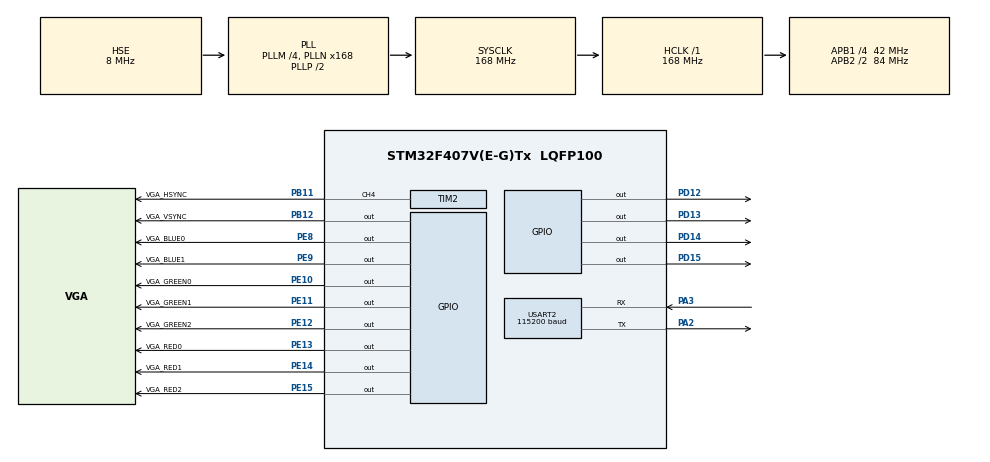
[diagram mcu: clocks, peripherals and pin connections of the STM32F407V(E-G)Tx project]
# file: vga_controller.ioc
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Dma.Request0=TIM1_UP
Dma.Request1=USART2_RX
Dma.Request2=USART2_TX
Dma.TIM1_UP.0.Direction=DMA_MEMORY_TO_PERIPH
Dma.TIM1_UP.0.FIFOMode=DMA_FIFOMODE_DISABLE
Dma.TIM1_UP.0.Instance=DMA2_Stream5
Dma.TIM1_UP.0.MemDataAlignment=DMA_MDATAALIGN_BYTE
Dma.TIM1_UP.0.MemInc=DMA_MINC_ENABLE
Dma.TIM1_UP.0.Mode=DMA_NORMAL
Dma.TIM1_UP.0.PeriphDataAlignment=DMA_PDATAALIGN_BYTE
Dma.TIM1_UP.0.PeriphInc=DMA_PINC_DISABLE
Dma.TIM1_UP.0.Priority=DMA_PRIORITY_VERY_HIGH
Dma.USART2_RX.1.Direction=DMA_PERIPH_TO_MEMORY
Dma.USART2_RX.1.FIFOMode=DMA_FIFOMODE_DISABLE
Dma.USART2_RX.1.Instance=DMA1_Stream5
Dma.USART2_RX.1.MemDataAlignment=DMA_MDATAALIGN_BYTE
Dma.USART2_RX.1.MemInc=DMA_MINC_ENABLE
Dma.USART2_RX.1.Mode=DMA_NORMAL
Dma.USART2_RX.1.PeriphDataAlignment=DMA_PDATAALIGN_BYTE
Dma.USART2_RX.1.PeriphInc=DMA_PINC_DISABLE
Dma.USART2_RX.1.Priority=DMA_PRIORITY_LOW
Dma.USART2_TX.2.Direction=DMA_MEMORY_TO_PERIPH
Dma.USART2_TX.2.FIFOMode=DMA_FIFOMODE_DISABLE
Dma.USART2_TX.2.Instance=DMA1_Stream6
Dma.USART2_TX.2.MemDataAlignment=DMA_MDATAALIGN_BYTE
Dma.USART2_TX.2.MemInc=DMA_MINC_ENABLE
Dma.USART2_TX.2.Mode=DMA_CIRCULAR
Dma.USART2_TX.2.PeriphDataAlignment=DMA_PDATAALIGN_BYTE
Dma.USART2_TX.2.PeriphInc=DMA_PINC_DISABLE
Dma.USART2_TX.2.Priority=DMA_PRIORITY_LOW
Mcu.Family=STM32F4
Mcu.Name=STM32F407V(E-G)Tx
Mcu.Package=LQFP100
NVIC.DMA1_Stream5_IRQn=true\:0\:0\:false\:false\:true\:false\:true
NVIC.DMA1_Stream6_IRQn=true\:0\:0\:false\:false\:true\:false\:true
NVIC.DMA2_Stream5_IRQn=true\:0\:0\:true\:true\:true\:3\:false\:true
NVIC.PriorityGroup=NVIC_PRIORITYGROUP_4
NVIC.TIM2_IRQn=true\:0\:0\:true\:true\:true\:1\:true\:true
NVIC.USART2_IRQn=true\:2\:0\:true\:true\:true\:2\:true\:true
PA13.Mode=Serial_Wire
PA13.Signal=SYS_JTMS-SWDIO
PA14.Mode=Serial_Wire
PA14.Signal=SYS_JTCK-SWCLK
PA2.Mode=Asynchronous
PA2.Signal=USART2_TX
PA3.Mode=Asynchronous
PA3.Signal=USART2_RX
PB11.GPIO_Label=VGA_HSYNC
PB11.GPIO_Speed=GPIO_SPEED_FREQ_VERY_HIGH
PB11.Signal=S_TIM2_CH4
PB12.GPIO_Label=VGA_VSYNC
PB12.GPIO_PuPd=GPIO_NOPULL
PB12.GPIO_Speed=GPIO_SPEED_FREQ_VERY_HIGH
PB12.Signal=GPIO_Output
PD12.Signal=GPIO_Output
PD13.Signal=GPIO_Output
PD14.Signal=GPIO_Output
PD15.Signal=GPIO_Output
PE10.GPIO_Label=VGA_GREEN0
PE10.GPIO_PuPd=GPIO_NOPULL
PE10.GPIO_Speed=GPIO_SPEED_FREQ_VERY_HIGH
PE10.Signal=GPIO_Output
PE11.GPIO_Label=VGA_GREEN1
PE11.GPIO_PuPd=GPIO_NOPULL
PE11.GPIO_Speed=GPIO_SPEED_FREQ_VERY_HIGH
PE11.Signal=GPIO_Output
PE12.GPIO_Label=VGA_GREEN2
PE12.GPIO_PuPd=GPIO_NOPULL
PE12.GPIO_Speed=GPIO_SPEED_FREQ_VERY_HIGH
PE12.Signal=GPIO_Output
PE13.GPIO_Label=VGA_RED0
PE13.GPIO_PuPd=GPIO_NOPULL
PE13.GPIO_Speed=GPIO_SPEED_FREQ_VERY_HIGH
PE13.Signal=GPIO_Output
PE14.GPIO_Label=VGA_RED1
PE14.GPIO_PuPd=GPIO_NOPULL
PE14.GPIO_Speed=GPIO_SPEED_FREQ_VERY_HIGH
PE14.Signal=GPIO_Output
PE15.GPIO_Label=VGA_RED2
PE15.GPIO_PuPd=GPIO_NOPULL
PE15.GPIO_Speed=GPIO_SPEED_FREQ_VERY_HIGH
PE15.Signal=GPIO_Output
PE8.GPIO_Label=VGA_BLUE0
PE8.GPIO_PuPd=GPIO_NOPULL
PE8.GPIO_Speed=GPIO_SPEED_FREQ_VERY_HIGH
PE8.Signal=GPIO_Output
PE9.GPIO_Label=VGA_BLUE1
PE9.GPIO_PuPd=GPIO_NOPULL
PE9.GPIO_Speed=GPIO_SPEED_FREQ_VERY_HIGH
PE9.Signal=GPIO_Output
PH0-OSC_IN.Mode=HSE-External-Oscillator
PH0-OSC_IN.Signal=RCC_OSC_IN
PH1-OSC_OUT.Mode=HSE-External-Oscillator
PH1-OSC_OUT.Signal=RCC_OSC_OUT
ProjectManager.HeapSize=0x200
ProjectManager.StackSize=0x400
ProjectManager.TargetToolchain=Makefile
RCC.48MHZClocksFreq_Value=48000000
RCC.AHBFreq_Value=168000000
RCC.APB1CLKDivider=RCC_HCLK_DIV4
RCC.APB1Freq_Value=42000000
RCC.APB1TimFreq_Value=84000000
RCC.APB2CLKDivider=RCC_HCLK_DIV2
RCC.APB2Freq_Value=84000000
RCC.APB2TimFreq_Value=168000000
RCC.CortexFreq_Value=168000000
RCC.HCLKFreq_Value=168000000
RCC.HSE_VALUE=8000000
RCC.HSI_VALUE=16000000
RCC.LSE_VALUE=32768
RCC.PLLM=4
RCC.PLLN=168
RCC.PLLQ=7
RCC.PLLSourceVirtual=RCC_PLLSOURCE_HSE
RCC.SYSCLKFreq_VALUE=168000000
RCC.SYSCLKSource=RCC_SYSCLKSOURCE_PLLCLK
RCC.VCOOutputFreq_Value=336000000
SH.S_TIM2_CH4.0=TIM2_CH4,PWM Generation4 CH4
STMicroelectronics.X-CUBE-TOUCHGFX.4.16.1.ApplicationCcGraphicsJjApplication=TouchGFXOoGenerator
STMicroelectronics.X-CUBE-TOUCHGFX.4.16.1.tgfx_buffering_strategy=Double
TIM1.Period=VGA_TIM1_PERIODE
TIM1.Prescaler=VGA_TIM1_PRESCALE
TIM2.AutoReloadPreload=TIM_AUTORELOAD_PRELOAD_DISABLE
TIM2.Channel-PWM\ Generation3\ No\ Output=TIM_CHANNEL_3
TIM2.Channel-PWM\ Generation4\ CH4=TIM_CHANNEL_4
TIM2.OCPolarity_3=TIM_OCPOLARITY_LOW
TIM2.OCPolarity_4=TIM_OCPOLARITY_LOW
TIM2.Period=VGA_TIM2_HSYNC_PERIODE
TIM2.Prescaler=VGA_TIM2_HSYNC_PRESCALE
TIM2.Pulse-PWM\ Generation3\ No\ Output=VGA_TIM2_HTRIGGER_START - VGA_TIM2_DMA_DELAY
TIM2.Pulse-PWM\ Generation4\ CH4=VGA_TIM2_HSYNC_IMP
USART2.BaudRate=115200
USART2.VirtualMode=VM_ASYNC
VP_TIM1_VS_ClockSourceINT.Mode=Internal
VP_TIM2_VS_no_output3.Mode=PWM Generation3 No Output
board=custom

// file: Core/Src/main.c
/* USER CODE BEGIN Header */
/**
  ******************************************************************************
  * @file           : main.c
  * @brief          : Main program body
  *
  ****************************************************************************
  * @attention
  *
  * <h2><center>&copy; Copyright (c) 2020 STMicroelectronics.
  * All rights reserved.</center></h2>
  *
  * This software component is licensed by ST under BSD 3-Clause license,
  * the "License"; You may not use this file except in compliance with the
  * License. You may obtain a copy of the License at:
  *                        opensource.org/licenses/BSD-3-Clause
  *
  ******************************************************************************
  */
/* USER CODE END Header */
#include "main.h"
#include "dma.h"
#include "tim.h"
#include "usart.h"
#include "gpio.h"

/* USER CODE BEGIN Includes */
#include "graphics.h"
#include "extra.h"
#include "fonts.h"
#include "helper.h"
#include "interpreter.h"

//stdc
#include <stdio.h>
#include <string.h>
#include <stdlib.h>
#include <math.h>
#include <errno.h>

/* USER CODE END Includes */

/* USER CODE BEGIN PD */
#define MAX_INPUT_LEN 1024
/* USER CODE END PD */

/* USER CODE BEGIN PV */
char input_buff[MAX_INPUT_LEN] = {};

uint32_t wait_time = 0;
uint32_t start_time = 0;
// uint32_t interpreter_data_len = 0;
/* USER CODE END PV */

void SystemClock_Config(void);
static void MX_NVIC_Init(void);
/* USER CODE BEGIN PFP */
char UART_Check_for_string(char * ptr, uint32_t max_size);
/* USER CODE END PFP */

int main(void)
{

  /* MCU Configuration--------------------------------------------------------*/

  /* Reset of all peripherals, Initializes the Flash interface and the Systick. */
  HAL_Init();

  /* Configure the system clock */
  SystemClock_Config();

  /* Initialize all configured peripherals */
  MX_GPIO_Init();
  MX_DMA_Init();
  MX_TIM1_Init();
  MX_TIM2_Init();
  MX_USART2_UART_Init();

  /* Initialize interrupts */
  MX_NVIC_Init();
  /* USER CODE BEGIN 2 */

  //init function list
  API_Init_function_list();

  //initialize uart receieve
  HAL_UART_Receive_DMA(&huart2, (uint8_t *)input_buff, MAX_INPUT_LEN);

  // Init VGA-Screen
  UB_VGA_Screen_Init();

  //init helperfunctions
  API_Init_function_list();

  printf("\rstarted display\r\n");

  API_Set_resolution(VGA_DISPLAY_X, VGA_DISPLAY_Y);
  API_Bind_set_pixel_callback((SetPixelCallback_t)UB_VGA_SetPixel);
  API_Bind_fill_screen_callback((SetFillScreenCallback_t)UB_VGA_FillScreen);

  /* USER CODE END 2 */

  /* Infinite loop */
  /* USER CODE BEGIN WHILE */
  while (1)
  {
    char string_data[MAX_INPUT_LEN / 4] = "";

    char err = UART_Check_for_string(string_data, MAX_INPUT_LEN / 4);

    if(!err)
    {
    	API_Parser(string_data, strlen(string_data));
    }

    if((HAL_GetTick() - start_time) > wait_time) {
      wait_time = 0;
      start_time = 0;

      API_Next_Q();
    }

    /* USER CODE END WHILE */

    /* USER CODE BEGIN 3 */

    memset(string_data, 0, MAX_INPUT_LEN / 4);
    HAL_Delay(50);
  }
  /* USER CODE END 3 */
}

void SystemClock_Config(void)
{
  RCC_OscInitTypeDef RCC_OscInitStruct = {0};
  RCC_ClkInitTypeDef RCC_ClkInitStruct = {0};

  /** Configure the main internal regulator output voltage
  */
  __HAL_RCC_PWR_CLK_ENABLE();
  __HAL_PWR_VOLTAGESCALING_CONFIG(PWR_REGULATOR_VOLTAGE_SCALE1);
  /** Initializes the RCC Oscillators according to the specified parameters
  * in the RCC_OscInitTypeDef structure.
  */
  RCC_OscInitStruct.OscillatorType = RCC_OSCILLATORTYPE_HSE;
  RCC_OscInitStruct.HSEState = RCC_HSE_ON;
  RCC_OscInitStruct.PLL.PLLState = RCC_PLL_ON;
  RCC_OscInitStruct.PLL.PLLSource = RCC_PLLSOURCE_HSE;
  RCC_OscInitStruct.PLL.PLLM = 4;
  RCC_OscInitStruct.PLL.PLLN = 168;
  RCC_OscInitStruct.PLL.PLLP = RCC_PLLP_DIV2;
  RCC_OscInitStruct.PLL.PLLQ = 7;
  if (HAL_RCC_OscConfig(&RCC_OscInitStruct) != HAL_OK)
  {
    Error_Handler();
  }
  /** Initializes the CPU, AHB and APB buses clocks
  */
  RCC_ClkInitStruct.ClockType = RCC_CLOCKTYPE_HCLK|RCC_CLOCKTYPE_SYSCLK
                              |RCC_CLOCKTYPE_PCLK1|RCC_CLOCKTYPE_PCLK2;
  RCC_ClkInitStruct.SYSCLKSource = RCC_SYSCLKSOURCE_PLLCLK;
  RCC_ClkInitStruct.AHBCLKDivider = RCC_SYSCLK_DIV1;
  RCC_ClkInitStruct.APB1CLKDivider = RCC_HCLK_DIV4;
  RCC_ClkInitStruct.APB2CLKDivider = RCC_HCLK_DIV2;

  if (HAL_RCC_ClockConfig(&RCC_ClkInitStruct, FLASH_LATENCY_5) != HAL_OK)
  {
    Error_Handler();
  }
}

/**
  * @brief NVIC Configuration.
  * @retval None
  */
static void MX_NVIC_Init(void)
{
  /* TIM2_IRQn interrupt configuration */
  HAL_NVIC_SetPriority(TIM2_IRQn, 0, 0);
  HAL_NVIC_EnableIRQ(TIM2_IRQn);
  /* USART2_IRQn interrupt configuration */
  HAL_NVIC_SetPriority(USART2_IRQn, 2, 0);
  HAL_NVIC_EnableIRQ(USART2_IRQn);
  /* DMA2_Stream5_IRQn interrupt configuration */
  HAL_NVIC_SetPriority(DMA2_Stream5_IRQn, 0, 0);
  HAL_NVIC_EnableIRQ(DMA2_Stream5_IRQn);
}

/* USER CODE BEGIN 4 */

inline char UART_Check_for_string(char * ptr, uint32_t max_size)
{
  static uint32_t check_index = 0;
  static uint32_t last_enter_index = 0;

  uint32_t cnt = MAX_INPUT_LEN - huart2.hdmarx->Instance->NDTR;

  if(check_index > cnt)
  {
    check_index = 0;
    last_enter_index = 0;
    HAL_UART_AbortReceive(&huart2);
    HAL_UART_Receive_DMA(&huart2, (uint8_t *)input_buff, MAX_INPUT_LEN);

    return ENOSPC;
  }
  else
  {
    uint32_t i;

    if(check_index > MAX_INPUT_LEN) {
      check_index = 0;
      last_enter_index = 0;
    }

    for(i = check_index; i < cnt; i++)
    {
      putchar(input_buff[i]);

      if(strstr(input_buff + i, "\r\n") != NULL || input_buff[i] == '\n' || input_buff[i] == '\r')
      {
        printf("\r\n");

        if(i - last_enter_index >= max_size) {
          puts("ENOMEM");
        }

        memcpy(ptr, input_buff + last_enter_index, i - last_enter_index);

        check_index = i + 1;
        last_enter_index = i + 1;
        // HAL_UART_AbortReceive(&huart2);
        // HAL_UART_Receive_DMA(&huart2, (uint8_t *)input_buff, MAX_INPUT_LEN);

        return 0;
      }
    }
    check_index = cnt;
  }
  return ENODATA;
}

void HAL_UART_RxCpltCallback(UART_HandleTypeDef *huart)
{

  if(huart != &huart2) return;

  HAL_UART_Receive_DMA(&huart2, (uint8_t *)input_buff, MAX_INPUT_LEN);
}

/* USER CODE END 4 */

void Error_Handler(void)
{
}

/************************ (C) COPYRIGHT STMicroelectronics *****END OF FILE****/
